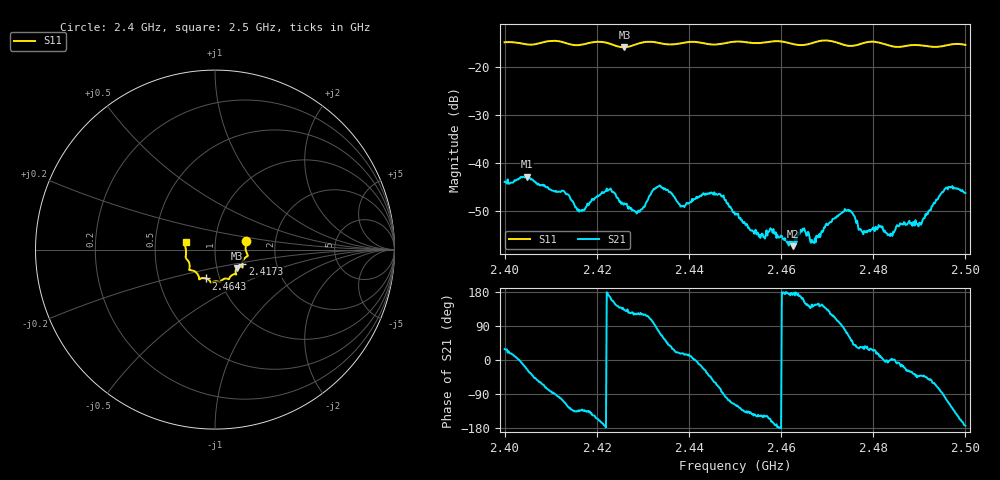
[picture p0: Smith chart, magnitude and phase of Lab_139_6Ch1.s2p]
# Hz S RI R 50
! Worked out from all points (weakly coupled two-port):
!   601 points, 2.4 GHz to 2.5 GHz, reference 50 ohm
!   highest |S21| = -42.79 dB at 2.4048 GHz (marker M1); lowest = -57.2 dB at 2.4627 GHz (marker M2)
!   lowest |S11| = -15.9 dB at 2.426 GHz (marker M3), VSWR 1.38, Z = 62.1 - j13.4 ohm
!   |S11| at or under -10 dB: start of sweep to end of sweep
!   S12 and S22 are empty: the file has one direction only
!   S11 on the Smith chart (normalised r, x): 2.4 GHz: 1.41, +0.14; 2.4173 GHz: 1.34, -0.22; 2.4643 GHz: 0.86, -0.29; 2.5 GHz: 0.72, +0.06
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2.4e9  0.1734 0.0488  0.00562 0.00308  0 0  0 0
2.404833e9  0.1705 0.0159  0.00663 -0.00295  0 0  0 0
2.413e9  0.174 -0.0409  -0.00191 -0.00466  0 0  0 0
2.416667e9  0.1529 -0.0741  -0.00212 -0.00238  0 0  0 0
2.417333e9  0.1519 -0.0816  -0.00221 -0.00241  0 0  0 0
2.422667e9  0.1478 -0.0942  -0.00523 0.000969  0 0  0 0
2.426e9  0.1207 -0.1047  -0.00259 0.00282  0 0  0 0
2.429167e9  0.1155 -0.1321  -0.00164 0.00269  0 0  0 0
2.433333e9  0.1133 -0.1371  0.00123 0.00562  0 0  0 0
2.438667e9  0.0807 -0.158  0.00344 0.00109  0 0  0 0
2.447e9  0.0404 -0.1685  0.000636 -0.00451  0 0  0 0
2.45e9  0.029 -0.181  -0.00136 -0.00258  0 0  0 0
2.455167e9  0.000609 -0.1768  -0.00147 -0.000911  0 0  0 0
2.462667e9  -0.0339 -0.169  -0.00137 8.83e-05  0 0  0 0
2.464333e9  -0.0498 -0.1608  -0.0019 0.000473  0 0  0 0
2.466667e9  -0.0758 -0.1593  -0.00133 0.000886  0 0  0 0
2.474333e9  -0.1001 -0.1328  0.00103 0.00308  0 0  0 0
2.477333e9  -0.1296 -0.1156  0.0017 0.00113  0 0  0 0
2.483333e9  -0.1408 -0.0901  0.00182 -8.65e-05  0 0  0 0
2.490167e9  -0.1632 -0.0394  0.0018 -0.00157  0 0  0 0
2.496e9  -0.1666 0.0196  -0.0016 -0.00536  0 0  0 0
2.5e9  -0.1638 0.0429  -0.00489 -0.000562  0 0  0 0
